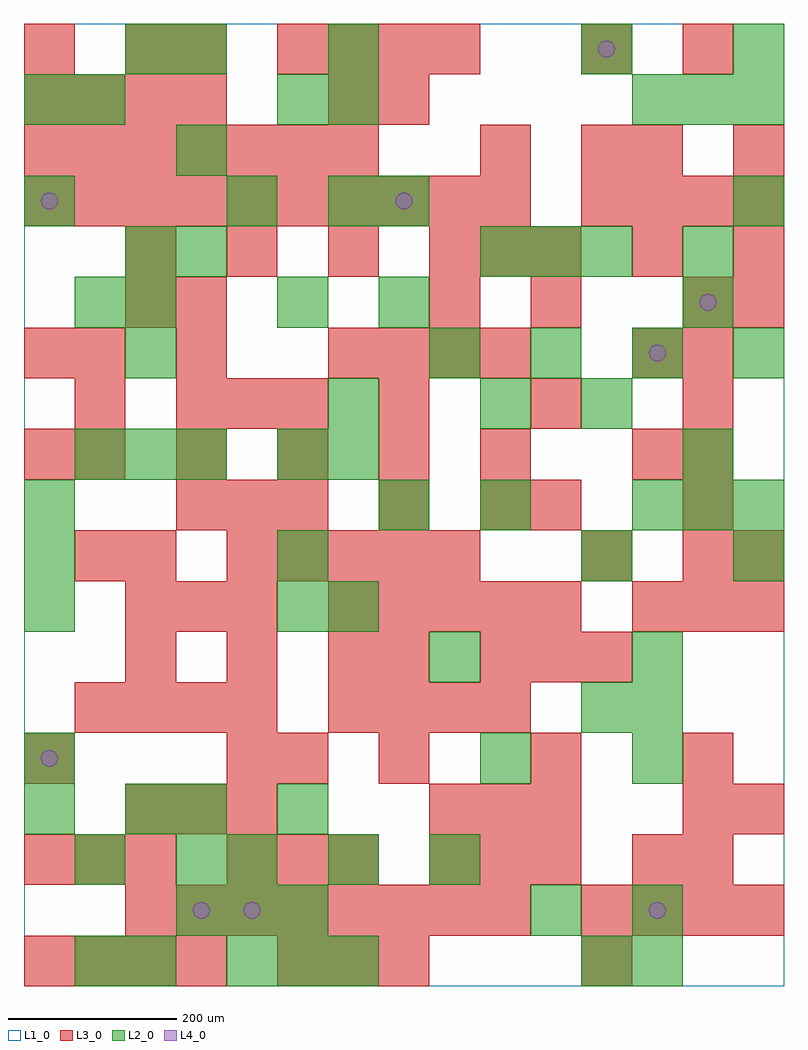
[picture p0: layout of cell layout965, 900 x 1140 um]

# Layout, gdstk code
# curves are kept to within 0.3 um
import gdstk
lib = gdstk.Library(unit=1e-6, precision=1e-09)
def R(c, l, rs):  # rectangles x0, y0, x1, y1
    for r in rs: c.add(gdstk.rectangle(r[:2], r[2:], *l))
def A(c, l, x, y, w, h, nx, ny, dx, dy):  # array of equal rectangles
    R(c, l, [(x+i*dx, y+j*dy, x+i*dx+w, y+j*dy+h) for i in range(nx) for j in range(ny)])
def P(c, l, *ps):  # polygons
    for p in ps: c.add(gdstk.Polygon(p, *l))
L1_0 = (1, 0)
L2_0 = (2, 0)
L3_0 = (3, 0)
L4_0 = (4, 0)

layout965 = lib.new_cell('layout965')
R(layout965, L1_0, [(0,0,900,1140)])
A(layout965, L2_0, 240, 0, 60, 60, 3, 1, 60, 0)
A(layout965, L2_0, 180, 60, 60, 60, 3, 1, 60, 0)
A(layout965, L2_0, 240, 120, 60, 60, 3, 1, 120, 0)
A(layout965, L2_0, 720, 240, 60, 60, 1, 3, 0, 60)
A(layout965, L2_0, 660, 300, 60, 60, 1, 3, 0, 180)
A(layout965, L2_0, 0, 420, 60, 60, 1, 3, 0, 60)
A(layout965, L2_0, 720, 540, 60, 60, 3, 2, 60, 480)
A(layout965, L2_0, 60, 600, 60, 60, 3, 1, 60, 0)
A(layout965, L2_0, 120, 720, 60, 60, 1, 3, 0, 60)
A(layout965, L2_0, 480, 720, 60, 60, 4, 1, 120, 0)
A(layout965, L2_0, 180, 840, 60, 60, 1, 3, 0, 120)
A(layout965, L2_0, 540, 840, 60, 60, 3, 1, 60, 0)
R(layout965, L2_0, [(60,0,120,60), (120,0,180,60), (660,0,720,60), (720,0,780,60), (600,60,660,120), (720,60,780,120), (60,120,120,180), (180,120,240,180), (0,180,60,240), (120,180,180,240), (180,180,240,240), (300,180,360,240), (0,240,60,300), (540,240,600,300), (480,360,540,420), (300,420,360,480), (360,420,420,480), (300,480,360,540), (840,480,900,540), (420,540,480,600), (540,540,600,600), (300,600,360,660), (360,600,420,660), (780,600,840,660), (360,660,420,720), (540,660,600,720), (60,780,120,840), (300,780,360,840), (420,780,480,840), (780,780,840,840), (780,840,840,900), (0,900,60,960), (240,900,300,960), (360,900,420,960), (420,900,480,960), (840,900,900,960), (0,1020,60,1080), (60,1020,120,1080), (300,1020,360,1080), (360,1020,420,1080), (120,1080,180,1140), (360,1080,420,1140), (660,1080,720,1140), (840,1080,900,1140)])
A(layout965, L3_0, 0, 0, 60, 60, 4, 2, 60, 1020)
A(layout965, L3_0, 300, 0, 60, 60, 3, 1, 60, 0)
A(layout965, L3_0, 660, 0, 60, 60, 1, 3, 0, 480)
A(layout965, L3_0, 120, 60, 60, 60, 8, 1, 60, 0)
A(layout965, L3_0, 660, 60, 60, 60, 4, 2, 60, 840)
A(layout965, L3_0, 0, 120, 60, 60, 3, 1, 60, 0)
A(layout965, L3_0, 240, 120, 60, 60, 3, 1, 60, 0)
A(layout965, L3_0, 480, 120, 60, 60, 3, 2, 60, 60)
A(layout965, L3_0, 120, 180, 60, 60, 3, 2, 60, 240)
A(layout965, L3_0, 840, 180, 60, 60, 1, 3, 0, 300)
A(layout965, L3_0, 420, 240, 60, 60, 3, 2, 180, 420)
A(layout965, L3_0, 60, 300, 60, 60, 4, 1, 60, 0)
A(layout965, L3_0, 360, 300, 60, 60, 4, 2, 60, 420)
A(layout965, L3_0, 120, 360, 60, 60, 3, 1, 120, 0)
A(layout965, L3_0, 540, 360, 60, 60, 3, 1, 60, 0)
A(layout965, L3_0, 360, 420, 60, 60, 5, 1, 60, 0)
A(layout965, L3_0, 720, 420, 60, 60, 3, 1, 60, 0)
A(layout965, L3_0, 120, 480, 60, 60, 1, 3, 0, 300)
A(layout965, L3_0, 240, 480, 60, 60, 5, 1, 60, 0)
A(layout965, L3_0, 780, 480, 60, 60, 1, 3, 0, 60)
A(layout965, L3_0, 180, 540, 60, 60, 3, 2, 60, 120)
A(layout965, L3_0, 60, 600, 60, 60, 5, 1, 120, 0)
A(layout965, L3_0, 120, 840, 60, 60, 4, 1, 120, 0)
A(layout965, L3_0, 600, 840, 60, 60, 3, 1, 120, 0)
A(layout965, L3_0, 0, 900, 60, 60, 10, 1, 60, 0)
A(layout965, L3_0, 0, 960, 60, 60, 7, 1, 60, 0)
A(layout965, L3_0, 300, 1080, 60, 60, 4, 1, 60, 0)
R(layout965, L3_0, [(720,120,780,180), (780,120,840,180), (780,180,840,240), (0,240,60,300), (240,240,300,300), (300,240,360,300), (420,360,480,420), (60,480,120,540), (420,540,480,600), (540,540,600,600), (600,540,660,600), (0,600,60,660), (720,600,780,660), (60,660,120,720), (0,720,60,780), (60,720,120,780), (180,720,240,780), (720,720,780,780), (780,720,840,780), (180,780,240,840), (480,780,540,840), (600,780,660,840), (780,780,840,840), (540,840,600,900), (540,960,600,1020), (720,960,780,1020), (840,960,900,1020), (360,1020,420,1080), (420,1020,480,1080), (0,1080,60,1140), (180,1080,240,1140), (660,1080,720,1140), (780,1080,840,1140)])
P(layout965, L4_0, [(40,270),(39.239,273.827),(37.071,277.071),(33.827,279.239),(30,280),(26.173,279.239),(22.929,277.071),(20.761,273.827),(20,270),(20.761,266.173),(22.929,262.929),(26.173,260.761),(30,260),(33.827,260.761),(37.071,262.929),(39.239,266.173)],
  [(40,930),(39.239,933.827),(37.071,937.071),(33.827,939.239),(30,940),(26.173,939.239),(22.929,937.071),(20.761,933.827),(20,930),(20.761,926.173),(22.929,922.929),(26.173,920.761),(30,920),(33.827,920.761),(37.071,922.929),(39.239,926.173)],
  [(220,90),(219.239,93.827),(217.071,97.071),(213.827,99.239),(210,100),(206.173,99.239),(202.929,97.071),(200.761,93.827),(200,90),(200.761,86.173),(202.929,82.929),(206.173,80.761),(210,80),(213.827,80.761),(217.071,82.929),(219.239,86.173)],
  [(280,90),(279.239,93.827),(277.071,97.071),(273.827,99.239),(270,100),(266.173,99.239),(262.929,97.071),(260.761,93.827),(260,90),(260.761,86.173),(262.929,82.929),(266.173,80.761),(270,80),(273.827,80.761),(277.071,82.929),(279.239,86.173)],
  [(460,930),(459.239,933.827),(457.071,937.071),(453.827,939.239),(450,940),(446.173,939.239),(442.929,937.071),(440.761,933.827),(440,930),(440.761,926.173),(442.929,922.929),(446.173,920.761),(450,920),(453.827,920.761),(457.071,922.929),(459.239,926.173)],
  [(700,1110),(699.239,1113.827),(697.071,1117.071),(693.827,1119.239),(690,1120),(686.173,1119.239),(682.929,1117.071),(680.761,1113.827),(680,1110),(680.761,1106.173),(682.929,1102.929),(686.173,1100.761),(690,1100),(693.827,1100.761),(697.071,1102.929),(699.239,1106.173)],
  [(760,90),(759.239,93.827),(757.071,97.071),(753.827,99.239),(750,100),(746.173,99.239),(742.929,97.071),(740.761,93.827),(740,90),(740.761,86.173),(742.929,82.929),(746.173,80.761),(750,80),(753.827,80.761),(757.071,82.929),(759.239,86.173)],
  [(760,750),(759.239,753.827),(757.071,757.071),(753.827,759.239),(750,760),(746.173,759.239),(742.929,757.071),(740.761,753.827),(740,750),(740.761,746.173),(742.929,742.929),(746.173,740.761),(750,740),(753.827,740.761),(757.071,742.929),(759.239,746.173)],
  [(820,810),(819.239,813.827),(817.071,817.071),(813.827,819.239),(810,820),(806.173,819.239),(802.929,817.071),(800.761,813.827),(800,810),(800.761,806.173),(802.929,802.929),(806.173,800.761),(810,800),(813.827,800.761),(817.071,802.929),(819.239,806.173)])

lib.write_gds('layout965.gds')
